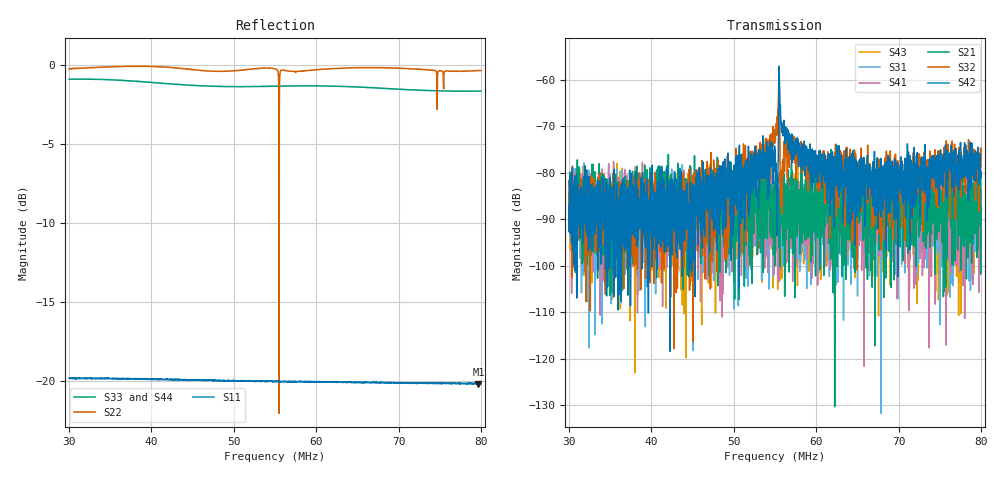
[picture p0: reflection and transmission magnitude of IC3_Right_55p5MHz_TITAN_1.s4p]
#  HZ  S  DB  R  50.00
! Rohde & Schwarz Vector Network Analyzer
! Rohde-Schwarz,ZNB8-4Port,1311601044102961,2.82
! Created: UTC 2/7/2019, 11:27:03 AM
! freq[Hz]  db:S11  ang:S11  db:S12  ang:S12  db:S13  ang:S13  db:S14  ang:S14
!  db:S21  ang:S21  db:S22  ang:S22  db:S23  ang:S23  db:S24  ang:S24
!  db:S31  ang:S31  db:S32  ang:S32  db:S33  ang:S33  db:S34  ang:S34
!  db:S41  ang:S41  db:S42  ang:S42  db:S43  ang:S43  db:S44  ang:S44
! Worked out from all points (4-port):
!   2001 points, 30 MHz to 80 MHz, reference 50 ohm
!   strongest paths, dB at 30 MHz, 42.5 MHz, 55 MHz, 67.5 MHz, 80 MHz:
!     S42: -87.2, -92.1, -76.5, -82.6, -80.8
!     S32: -81.8, -83.4, -71.5, -77.9, -78.8
!     S21: -86.6, -87.5, -84.1, -83.0, -87.4
!     S41: -85.6, -92.0, -82.3, -86.9, -89.2
!     S31: -89.4, -85.3, -95.9, -83.9, -80.8
!     S43: -89.1, -86.0, -86.0, -91.9, -90.9
!   lowest |S11| = -20.2 dB at 79.7 MHz (marker M1), VSWR 1.22, Z = 60.6 - j1.88 ohm
!   |S11| at or under -10 dB: start of sweep to end of sweep
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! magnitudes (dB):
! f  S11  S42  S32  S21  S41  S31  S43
! 30 MHz  -19.8  -87.2  -81.8  -86.6  -85.6  -89.4  -89.1
! 51.3 MHz  -20.0  -78.2  -79.8  -86.6  -86.1  -82.6  -83.7
! 55.12 MHz  -20.0  -77.9  -71.0  -89.4  -88.7  -88.9  -92.9
! 55.67 MHz  -20.0  -67.6  -87.1  -83.5  -85.5  -89.8  -86.2
! 61.98 MHz  -20.1  -75.5  -80.7  -85.0  -99.8  -91.3  -86.9
! 79.7 MHz  -20.2  -79.1  -82.1  -81.6  -88.0  -87.3  -86.4
! 80 MHz  -20.2  -80.8  -78.8  -87.4  -89.2  -80.8  -90.9
